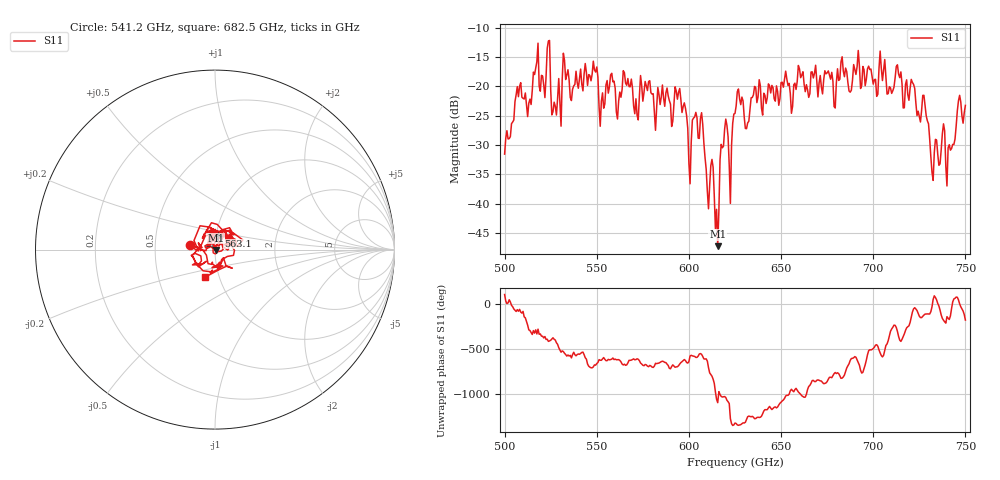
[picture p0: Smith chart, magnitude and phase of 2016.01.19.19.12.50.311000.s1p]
!Created with skrf (http://scikit-rf.org).
# GHz S RI R 50.0
!freq ReS11 ImS11
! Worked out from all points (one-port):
!   401 points, 500 GHz to 750 GHz, reference 50 ohm
!   lowest |S11| = -47.2 dB at 615.6 GHz (marker M1), VSWR 1.01, Z = 50.4 - j0.167 ohm
!   |S11| at or under -10 dB: start of sweep to end of sweep
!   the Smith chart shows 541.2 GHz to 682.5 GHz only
!   S11 on the Smith chart (normalised r, x): 541.2 GHz: 0.76, +0.04; 563.1 GHz: 1.03, +0.16; 682.5 GHz: 0.86, -0.27
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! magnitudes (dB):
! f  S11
! 500 GHz  -31.5
! 507.5 GHz  -21.7
! 513.8 GHz  -22.2
! 516.9 GHz  -16.9
! 520.6 GHz  -18.2
! 523.8 GHz  -12.3
! 526.9 GHz  -22.7
! 531.2 GHz  -18.9
! 541.2 GHz  -17.0
! 562.5 GHz  -21.0
! 563.1 GHz  -21.8
! 593.8 GHz  -22.2
! 600 GHz  -33.2
! 606.9 GHz  -24.5
! 610 GHz  -37.9
! 615.6 GHz  -47.2
! 618.8 GHz  -30.2
! 622.5 GHz  -40.0
! 625 GHz  -24.6
! 656.2 GHz  -23.4
! 682.5 GHz  -15.8
! 687.5 GHz  -21.0
! 718.8 GHz  -21.4
! 728.1 GHz  -23.3
! 731.9 GHz  -34.6
! 740.6 GHz  -30.5
! 746.2 GHz  -22.4
! 750 GHz  -23.2
